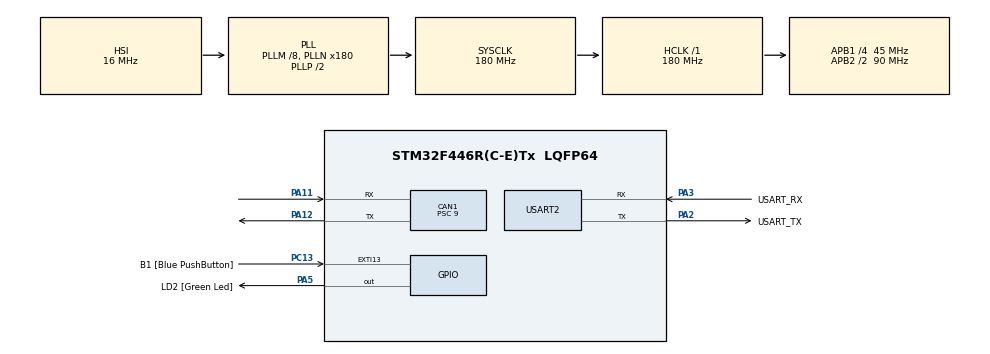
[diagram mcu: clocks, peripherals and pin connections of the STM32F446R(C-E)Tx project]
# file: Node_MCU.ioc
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CAN1.BS1=CAN_BS1_2TQ
CAN1.BS2=CAN_BS2_2TQ
CAN1.CalculateBaudRate=1000000
CAN1.CalculateTimeBit=1000
CAN1.CalculateTimeQuantum=200.0
CAN1.Prescaler=9
Mcu.Family=STM32F4
Mcu.Name=STM32F446R(C-E)Tx
Mcu.Package=LQFP64
NVIC.CAN1_RX0_IRQn=true\:0\:0\:false\:false\:true\:true\:true\:true
NVIC.CAN1_RX1_IRQn=true\:0\:0\:false\:false\:true\:true\:true\:true
NVIC.PriorityGroup=NVIC_PRIORITYGROUP_0
PA11.GPIO_PuPd=GPIO_PULLUP
PA11.Mode=CAN_Activate
PA11.Signal=CAN1_RX
PA12.Mode=CAN_Activate
PA12.Signal=CAN1_TX
PA13.GPIO_Label=TMS
PA13.Mode=Serial_Wire
PA13.Signal=SYS_JTMS-SWDIO
PA14.GPIO_Label=TCK
PA14.Mode=Serial_Wire
PA14.Signal=SYS_JTCK-SWCLK
PA2.GPIO_Label=USART_TX
PA2.Mode=Asynchronous
PA2.Signal=USART2_TX
PA3.GPIO_Label=USART_RX
PA3.Mode=Asynchronous
PA3.Signal=USART2_RX
PA5.GPIO_Label=LD2 [Green Led]
PA5.Signal=GPIO_Output
PB3.GPIO_Label=SWO
PB3.Signal=SYS_JTDO-SWO
PC13.GPIO_Label=B1 [Blue PushButton]
PC13.GPIO_ModeDefaultEXTI=GPIO_MODE_IT_FALLING
PC13.Signal=GPXTI13
PC14-OSC32_IN.Mode=LSE-External-Oscillator
PC14-OSC32_IN.Signal=RCC_OSC32_IN
PC15-OSC32_OUT.Mode=LSE-External-Oscillator
PC15-OSC32_OUT.Signal=RCC_OSC32_OUT
PH0-OSC_IN.Mode=HSE-External-Oscillator
PH0-OSC_IN.Signal=RCC_OSC_IN
PH1-OSC_OUT.Mode=HSE-External-Oscillator
PH1-OSC_OUT.Signal=RCC_OSC_OUT
ProjectManager.HeapSize=0x200
ProjectManager.StackSize=0x400
ProjectManager.TargetToolchain=STM32CubeIDE
RCC.48MHZClocksFreq_Value=84000000
RCC.AHBFreq_Value=180000000
RCC.APB1CLKDivider=RCC_HCLK_DIV4
RCC.APB1Freq_Value=45000000
RCC.APB1TimFreq_Value=90000000
RCC.APB2CLKDivider=RCC_HCLK_DIV2
RCC.APB2Freq_Value=90000000
RCC.APB2TimFreq_Value=180000000
RCC.CortexFreq_Value=180000000
RCC.FLatency-AdvancedSettings=FLASH_LATENCY_5
RCC.HCLKFreq_Value=180000000
RCC.HSE_VALUE=8000000
RCC.HSI_VALUE=16000000
RCC.PLLM=8
RCC.PLLN=180
RCC.SYSCLKFreq_VALUE=180000000
RCC.SYSCLKSource=RCC_SYSCLKSOURCE_PLLCLK
RCC.USBFreq_Value=180000000
RCC.VCOOutputFreq_Value=360000000
USART2.VirtualMode=VM_ASYNC
board=NUCLEO-F446RE

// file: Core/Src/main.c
/* USER CODE BEGIN Header */
/**
 ******************************************************************************
 * @file           : main.c
 * @brief          : Main program body
 ******************************************************************************
 * @attention
 *
 * Copyright (c) 2025 STMicroelectronics.
 * All rights reserved.
 *
 * This software is licensed under terms that can be found in the LICENSE file
 * in the root directory of this software component.
 * If no LICENSE file comes with this software, it is provided AS-IS.
 *
 ******************************************************************************
 */
/* USER CODE END Header */
#include "main.h"

/* USER CODE BEGIN PD */

#define FLASH_START_ADDR  0x08020000
#define FIRMWARE_MAX_SIZE (256 * 1024) // 256KB
#define FIRMWARE_END_ADDR (FLASH_START_ADDR + FIRMWARE_MAX_SIZE)
#define FIRMWARE_DONE_ID  0x12
#define FIRMWARE_START_ID 0x10
/* USER CODE END PD */

CAN_HandleTypeDef hcan1;

UART_HandleTypeDef huart2;

void SystemClock_Config(void);
static void MX_GPIO_Init(void);
static void MX_USART2_UART_Init(void);
static void MX_CAN1_Init(void);
/* USER CODE BEGIN PFP */
/* USER CODE BEGIN PFP */
void Flash_Erase(uint32_t start_addr, uint32_t size);
void Flash_Write(uint32_t address, uint8_t* data, uint8_t len);
void Flash_Write_Buffered(uint32_t address, uint8_t* data, uint8_t len);
void Flash_Write_Flush(void);
uint8_t IsValidApplication(void);
void JumpToApplication(void);
/* USER CODE END PFP */
/* USER CODE END PFP */

/* USER CODE BEGIN 0 */
CAN_RxHeaderTypeDef	RxHeader;
uint8_t	RxData[8];
uint32_t current_flash_addr = FLASH_START_ADDR;
uint8_t programming_mode = 0;
uint8_t write_buffer[4];
uint8_t buffer_index = 0;

typedef void (*pFunction)(void);

void Flash_Erase(uint32_t start_addr, uint32_t size)
{
    HAL_FLASH_Unlock();

    FLASH_EraseInitTypeDef EraseInitStruct;
    uint32_t SectorError = 0;

    // Calculate sectors for STM32F4xx
    // Sectors 0-3: 16KB each (0x08000000-0x0800FFFF)
    // Sectors 4: 64KB (0x08010000-0x0801FFFF)
    // Sectors 5-11: 128KB each (0x08020000-0x080FFFFF)

    uint32_t start_sector;
    uint32_t num_sectors;

    if (start_addr >= 0x08020000) {
        // Application area - 128KB sectors
        start_sector = 5 + (start_addr - 0x08020000) / 0x20000;
        num_sectors = (size + 0x1FFFF) / 0x20000; // Round up
    } else if (start_addr >= 0x08010000) {
        // 64KB sector
        start_sector = 4;
        num_sectors = 1;
    } else {
        // 16KB sectors
        start_sector = (start_addr - 0x08000000) / 0x4000;
        num_sectors = (size + 0x3FFF) / 0x4000; // Round up
    }

    EraseInitStruct.TypeErase = FLASH_TYPEERASE_SECTORS;
    EraseInitStruct.VoltageRange = FLASH_VOLTAGE_RANGE_3; // 2.7-3.6V
    EraseInitStruct.Sector = start_sector;
    EraseInitStruct.NbSectors = num_sectors;

    HAL_StatusTypeDef status = HAL_FLASHEx_Erase(&EraseInitStruct, &SectorError);

    HAL_FLASH_Lock();

    if (status != HAL_OK || SectorError != 0xFFFFFFFF) {
        // Handle erase error
        Error_Handler();
    }
}

// Enhanced application validation
uint8_t IsValidApplication(void)
{
    uint32_t appStack = *(volatile uint32_t*)FLASH_START_ADDR;
    uint32_t appResetHandler = *(volatile uint32_t*)(FLASH_START_ADDR + 4);

    // Check if flash is erased (all 0xFF)
    if (appStack == 0xFFFFFFFF || appResetHandler == 0xFFFFFFFF)
        return 0;

    // Check if flash is blank (all 0x00)
    if (appStack == 0x00000000 || appResetHandler == 0x00000000)
        return 0;

    // Check stack pointer is in RAM range (adjust for your MCU)
    if (appStack < 0x20000000 || appStack > 0x20020000)
        return 0;

    // Check reset handler is in valid flash range
    if (appResetHandler < 0x08020000 || appResetHandler > 0x0803FFFF)
        return 0;

    // Check reset handler has Thumb bit set (bit 0 = 1 for Cortex-M)
    if ((appResetHandler & 0x01) == 0)
        return 0;

    return 1;
}

void JumpToApplication(void)
{
    if (!IsValidApplication()) {
        // Flash LED to indicate no valid app
        for(int i = 0; i < 10; i++) {
            HAL_GPIO_TogglePin(LD2_GPIO_Port, LD2_Pin);
            HAL_Delay(100);
        }
        return;
    }

    uint32_t appStack = *(volatile uint32_t*)FLASH_START_ADDR;
    uint32_t appResetHandler = *(volatile uint32_t*)(FLASH_START_ADDR + 4);

    // Proper system cleanup
    HAL_CAN_Stop(&hcan1);
    HAL_CAN_DeInit(&hcan1);
    HAL_RCC_DeInit();
    HAL_DeInit();

    // Disable SysTick
    SysTick->CTRL = 0;
    SysTick->LOAD = 0;
    SysTick->VAL = 0;

    // Disable all interrupts
    __disable_irq();

    // Clear pending interrupts
    for (int i = 0; i < 8; i++) {
        NVIC->ICER[i] = 0xFFFFFFFF;
        NVIC->ICPR[i] = 0xFFFFFFFF;
    }

    // Relocate vector table
    SCB->VTOR = FLASH_START_ADDR;

    // Set stack pointer and jump
    __set_MSP(appStack);
    ((pFunction)appResetHandler)();
}

// Improved flash write with proper buffering
void Flash_Write_Buffered(uint32_t address, uint8_t* data, uint8_t len)
{
    for (uint8_t i = 0; i < len; i++) {
        write_buffer[buffer_index++] = data[i];

        if (buffer_index == 4) {
            HAL_FLASH_Unlock();
            uint32_t word = *(uint32_t*)write_buffer;
            HAL_StatusTypeDef status = HAL_FLASH_Program(FLASH_TYPEPROGRAM_WORD, current_flash_addr, word);
            HAL_FLASH_Lock();

            if (status != HAL_OK) {
                Error_Handler();
            }

            buffer_index = 0;
            current_flash_addr += 4;  // 🔁 aggiorna solo dopo il write
        }
    }
}

// Flush remaining bytes in buffer
void Flash_Write_Flush(void)
{
    if (buffer_index > 0) {
        // Pad buffer with 0xFF
        while (buffer_index < 4) {
            write_buffer[buffer_index++] = 0xFF;
        }

        HAL_FLASH_Unlock();
        uint32_t word = *(uint32_t*)write_buffer;
        HAL_FLASH_Program(FLASH_TYPEPROGRAM_WORD, current_flash_addr, word);
        HAL_FLASH_Lock();

        buffer_index = 0;
    }
}

void HAL_CAN_RxFifo0MsgPendingCallback(CAN_HandleTypeDef *hcan)
{
    HAL_CAN_GetRxMessage(hcan, CAN_RX_FIFO0, &RxHeader, RxData);

    switch (RxHeader.StdId) {
        case FIRMWARE_START_ID:
            // Start programming - erase flash first
            programming_mode = 1;
            current_flash_addr = FLASH_START_ADDR;
            buffer_index = 0;

            // Erase application flash area
            Flash_Erase(FLASH_START_ADDR, FIRMWARE_MAX_SIZE);

            HAL_GPIO_WritePin(LD2_GPIO_Port, LD2_Pin, GPIO_PIN_SET);
            break;

        case FIRMWARE_DONE_ID:
            if (programming_mode) {
                // Flush any remaining data
                Flash_Write_Flush();
                programming_mode = 0;

                HAL_GPIO_WritePin(LD2_GPIO_Port, LD2_Pin, GPIO_PIN_RESET);
                JumpToApplication();
            }
            break;

        default:
            // Data packet
            if (programming_mode) {
                Flash_Write_Buffered(current_flash_addr, RxData, RxHeader.DLC);
            }
            break;
    }
}
/* USER CODE END 0 */

int main(void)
{

	/* MCU Configuration--------------------------------------------------------*/

	/* Reset of all peripherals, Initializes the Flash interface and the Systick. */
	HAL_Init();

	/* Configure the system clock */
	SystemClock_Config();

	/* Initialize all configured peripherals */
	MX_GPIO_Init();
	MX_USART2_UART_Init();
	MX_CAN1_Init();
	/* USER CODE BEGIN 2 */

	HAL_CAN_Start(&hcan1);

	if (HAL_CAN_ActivateNotification(&hcan1, CAN_IT_RX_FIFO0_MSG_PENDING) != HAL_OK)
	{
		Error_Handler();
	}
	/* USER CODE END 2 */

	/* Infinite loop */
	while (1)
	{

	}
}

void SystemClock_Config(void)
{
	RCC_OscInitTypeDef RCC_OscInitStruct = {0};
	RCC_ClkInitTypeDef RCC_ClkInitStruct = {0};

	/** Configure the main internal regulator output voltage
	 */
	__HAL_RCC_PWR_CLK_ENABLE();
	__HAL_PWR_VOLTAGESCALING_CONFIG(PWR_REGULATOR_VOLTAGE_SCALE1);

	/** Initializes the RCC Oscillators according to the specified parameters
	 * in the RCC_OscInitTypeDef structure.
	 */
	RCC_OscInitStruct.OscillatorType = RCC_OSCILLATORTYPE_HSI;
	RCC_OscInitStruct.HSIState = RCC_HSI_ON;
	RCC_OscInitStruct.HSICalibrationValue = RCC_HSICALIBRATION_DEFAULT;
	RCC_OscInitStruct.PLL.PLLState = RCC_PLL_ON;
	RCC_OscInitStruct.PLL.PLLSource = RCC_PLLSOURCE_HSI;
	RCC_OscInitStruct.PLL.PLLM = 8;
	RCC_OscInitStruct.PLL.PLLN = 180;
	RCC_OscInitStruct.PLL.PLLP = RCC_PLLP_DIV2;
	RCC_OscInitStruct.PLL.PLLQ = 2;
	RCC_OscInitStruct.PLL.PLLR = 2;
	if (HAL_RCC_OscConfig(&RCC_OscInitStruct) != HAL_OK)
	{
		Error_Handler();
	}

	/** Activate the Over-Drive mode
	 */
	if (HAL_PWREx_EnableOverDrive() != HAL_OK)
	{
		Error_Handler();
	}

	/** Initializes the CPU, AHB and APB buses clocks
	 */
	RCC_ClkInitStruct.ClockType = RCC_CLOCKTYPE_HCLK|RCC_CLOCKTYPE_SYSCLK
			|RCC_CLOCKTYPE_PCLK1|RCC_CLOCKTYPE_PCLK2;
	RCC_ClkInitStruct.SYSCLKSource = RCC_SYSCLKSOURCE_PLLCLK;
	RCC_ClkInitStruct.AHBCLKDivider = RCC_SYSCLK_DIV1;
	RCC_ClkInitStruct.APB1CLKDivider = RCC_HCLK_DIV4;
	RCC_ClkInitStruct.APB2CLKDivider = RCC_HCLK_DIV2;

	if (HAL_RCC_ClockConfig(&RCC_ClkInitStruct, FLASH_LATENCY_5) != HAL_OK)
	{
		Error_Handler();
	}
}

static void MX_CAN1_Init(void)
{

	hcan1.Instance = CAN1;
	hcan1.Init.Prescaler = 9;
	hcan1.Init.Mode = CAN_MODE_NORMAL;
	hcan1.Init.SyncJumpWidth = CAN_SJW_1TQ;
	hcan1.Init.TimeSeg1 = CAN_BS1_2TQ;
	hcan1.Init.TimeSeg2 = CAN_BS2_2TQ;
	hcan1.Init.TimeTriggeredMode = DISABLE;
	hcan1.Init.AutoBusOff = DISABLE;
	hcan1.Init.AutoWakeUp = DISABLE;
	hcan1.Init.AutoRetransmission = DISABLE;
	hcan1.Init.ReceiveFifoLocked = DISABLE;
	hcan1.Init.TransmitFifoPriority = DISABLE;
	if (HAL_CAN_Init(&hcan1) != HAL_OK)
	{
		Error_Handler();
	}
	/* USER CODE BEGIN CAN1_Init 2 */
	CAN_FilterTypeDef canfilterconfig;
	canfilterconfig.FilterActivation = CAN_FILTER_ENABLE;
	canfilterconfig.FilterBank = 18;  // which filter bank to use from the assigned ones
	canfilterconfig.FilterFIFOAssignment = CAN_FILTER_FIFO0;
	canfilterconfig.FilterIdHigh = 0x0000;
	canfilterconfig.FilterIdLow = 0;
	canfilterconfig.FilterMaskIdHigh = 0x0000;
	canfilterconfig.FilterMaskIdLow = 0x0000;
	canfilterconfig.FilterMode = CAN_FILTERMODE_IDMASK;
	canfilterconfig.FilterScale = CAN_FILTERSCALE_32BIT;
	canfilterconfig.SlaveStartFilterBank = 20;  // how many filters to assign to the CAN1 (master can)
	HAL_CAN_ConfigFilter(&hcan1, &canfilterconfig);
	/* USER CODE END CAN1_Init 2 */

}

static void MX_USART2_UART_Init(void)
{

	huart2.Instance = USART2;
	huart2.Init.BaudRate = 115200;
	huart2.Init.WordLength = UART_WORDLENGTH_8B;
	huart2.Init.StopBits = UART_STOPBITS_1;
	huart2.Init.Parity = UART_PARITY_NONE;
	huart2.Init.Mode = UART_MODE_TX_RX;
	huart2.Init.HwFlowCtl = UART_HWCONTROL_NONE;
	huart2.Init.OverSampling = UART_OVERSAMPLING_16;
	if (HAL_UART_Init(&huart2) != HAL_OK)
	{
		Error_Handler();
	}

}

static void MX_GPIO_Init(void)
{
	GPIO_InitTypeDef GPIO_InitStruct = {0};

	/* GPIO Ports Clock Enable */
	__HAL_RCC_GPIOC_CLK_ENABLE();
	__HAL_RCC_GPIOH_CLK_ENABLE();
	__HAL_RCC_GPIOA_CLK_ENABLE();
	__HAL_RCC_GPIOB_CLK_ENABLE();

	/*Configure GPIO pin Output Level */
	HAL_GPIO_WritePin(LD2_GPIO_Port, LD2_Pin, GPIO_PIN_RESET);

	/*Configure GPIO pin : B1_Pin */
	GPIO_InitStruct.Pin = B1_Pin;
	GPIO_InitStruct.Mode = GPIO_MODE_IT_FALLING;
	GPIO_InitStruct.Pull = GPIO_NOPULL;
	HAL_GPIO_Init(B1_GPIO_Port, &GPIO_InitStruct);

	/*Configure GPIO pin : LD2_Pin */
	GPIO_InitStruct.Pin = LD2_Pin;
	GPIO_InitStruct.Mode = GPIO_MODE_OUTPUT_PP;
	GPIO_InitStruct.Pull = GPIO_NOPULL;
	GPIO_InitStruct.Speed = GPIO_SPEED_FREQ_LOW;
	HAL_GPIO_Init(LD2_GPIO_Port, &GPIO_InitStruct);

}

void Error_Handler(void)
{
	__disable_irq();
	while (1)
	{
	}
}
